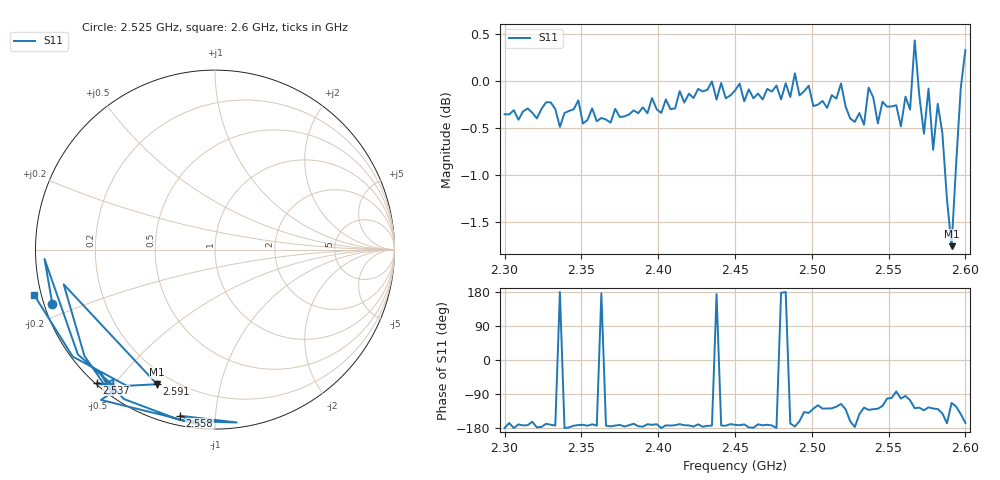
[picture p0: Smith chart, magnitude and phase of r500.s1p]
# Hz S RI R 50
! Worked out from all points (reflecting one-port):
!   101 points, 2.3 GHz to 2.6 GHz, reference 50 ohm
!   lowest |S11| = -1.8 dB at 2.591 GHz (marker M1), VSWR 9.90, Z = 7.21 - j32.4 ohm
!   phase of S11 starts at -179 deg and turns +13 deg over the sweep
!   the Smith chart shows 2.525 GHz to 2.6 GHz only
!   S11 on the Smith chart (normalised r, x): 2.525 GHz: 0.02, -0.16; 2.537 GHz: 0.00, -0.45; 2.558 GHz: 0.05, -0.81; 2.591 GHz: 0.14, -0.65; 2.6 GHz: -0.02, -0.12
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2.3e9  -0.9601 -0.0113
2.318e9  -0.9199 -0.2814
2.321e9  -0.9545 -0.0373
2.327e9  -0.9543 -0.1966
2.339e9  -0.9616 -0.00376
2.375e9  -0.9458 -0.1452
2.414e9  -0.9704 -0.1841
2.435e9  -0.9923 -0.1208
2.438e9  -0.9717 0.1067
2.45e9  -0.9764 -0.1538
2.489e9  -1.007 -0.0788
2.495e9  -0.7258 -0.6699
2.504e9  -0.4759 -0.8469
2.519e9  -0.4367 -0.8964
2.525e9  -0.9066 -0.3007
2.528e9  -0.9498 -0.052
2.531e9  -0.764 -0.5839
2.537e9  -0.6592 -0.7414
2.546e9  -0.5072 -0.8327
2.555e9  0.121 -0.9633
2.558e9  -0.1948 -0.9257
2.564e9  -0.2716 -0.9267
2.567e9  -0.6351 -0.8377
2.582e9  -0.6173 -0.7514
2.588e9  -0.8429 -0.1936
2.591e9  -0.3228 -0.75
2.597e9  -0.7929 -0.596
2.6e9  -1.007 -0.2531
